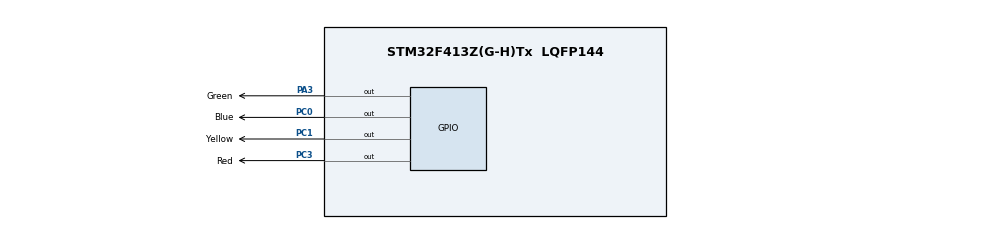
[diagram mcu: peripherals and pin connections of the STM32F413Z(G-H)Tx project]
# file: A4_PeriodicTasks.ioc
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FREERTOS.INCLUDE_vTaskDelayUntil=1
FREERTOS.Tasks01=toggleGreen,0,128,toggleGreenHook,Default,NULL,Dynamic,NULL,NULL;toggleRed,0,128,toggleRedHook,Default,NULL,Dynamic,NULL,NULL
Mcu.Family=STM32F4
Mcu.Name=STM32F413Z(G-H)Tx
Mcu.Package=LQFP144
NVIC.PriorityGroup=NVIC_PRIORITYGROUP_4
NVIC.TIM1_UP_TIM10_IRQn=true\:15\:0\:false\:false\:true\:false\:false\:true\:true
NVIC.TimeBase=TIM1_UP_TIM10_IRQn
NVIC.TimeBaseIP=TIM1
PA3.GPIO_Label=Green
PA3.Signal=GPIO_Output
PC0.GPIO_Label=Blue
PC0.Signal=GPIO_Output
PC1.GPIO_Label=Yellow
PC1.Signal=GPIO_Output
PC3.GPIO_Label=Red
PC3.Signal=GPIO_Output
ProjectManager.HeapSize=0x200
ProjectManager.StackSize=0x400
ProjectManager.TargetToolchain=STM32CubeIDE
RCC.CortexFreq_Value=16000000
RCC.USBFreq_Value=96000000
RCC.VCOOutputFreq_Value=192000000
VP_FREERTOS_VS_CMSIS_V1.Mode=CMSIS_V1
VP_SYS_VS_tim1.Mode=TIM1
board=custom

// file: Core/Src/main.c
/* USER CODE BEGIN Header */
/**
  ******************************************************************************
  * @file           : main.c
  * @brief          : Main program body
  ******************************************************************************
  * @attention
  *
  * Copyright (c) 2024 STMicroelectronics.
  * All rights reserved.
  *
  * This software is licensed under terms that can be found in the LICENSE file
  * in the root directory of this software component.
  * If no LICENSE file comes with this software, it is provided AS-IS.
  *
  ******************************************************************************
  */
/* USER CODE END Header */
#include "main.h"
#include "cmsis_os.h"

osThreadId toggleGreenHandle;
osThreadId toggleRedHandle;
/* USER CODE BEGIN PV */
const TickType_t half_frequency = pdMS_TO_TICKS(25); // el ciclo de 50 ms (20 Hz) se reparte entre apagado y encendido
/* USER CODE END PV */

void SystemClock_Config(void);
static void MX_GPIO_Init(void);
void toggleGreenHook(void const * argument);
void toggleRedHook(void const * argument);

int main(void)
{

  /* MCU Configuration--------------------------------------------------------*/

  /* Reset of all peripherals, Initializes the Flash interface and the Systick. */
  HAL_Init();

  /* Configure the system clock */
  SystemClock_Config();

  /* Initialize all configured peripherals */
  MX_GPIO_Init();

  /* Create the thread(s) */
  /* definition and creation of toggleGreen */
  osThreadDef(toggleGreen, toggleGreenHook, osPriorityNormal, 0, 128);
  toggleGreenHandle = osThreadCreate(osThread(toggleGreen), NULL);

  /* definition and creation of toggleRed */
  osThreadDef(toggleRed, toggleRedHook, osPriorityNormal, 0, 128);
  toggleRedHandle = osThreadCreate(osThread(toggleRed), NULL);

  /* Start scheduler */
  osKernelStart();

  /* We should never get here as control is now taken by the scheduler */

  /* Infinite loop */
  while (1)
  {

  }
}

void SystemClock_Config(void)
{
  RCC_OscInitTypeDef RCC_OscInitStruct = {0};
  RCC_ClkInitTypeDef RCC_ClkInitStruct = {0};

  /** Configure the main internal regulator output voltage
  */
  __HAL_RCC_PWR_CLK_ENABLE();
  __HAL_PWR_VOLTAGESCALING_CONFIG(PWR_REGULATOR_VOLTAGE_SCALE1);

  /** Initializes the RCC Oscillators according to the specified parameters
  * in the RCC_OscInitTypeDef structure.
  */
  RCC_OscInitStruct.OscillatorType = RCC_OSCILLATORTYPE_HSI;
  RCC_OscInitStruct.HSIState = RCC_HSI_ON;
  RCC_OscInitStruct.HSICalibrationValue = RCC_HSICALIBRATION_DEFAULT;
  RCC_OscInitStruct.PLL.PLLState = RCC_PLL_NONE;
  if (HAL_RCC_OscConfig(&RCC_OscInitStruct) != HAL_OK)
  {
    Error_Handler();
  }

  /** Initializes the CPU, AHB and APB buses clocks
  */
  RCC_ClkInitStruct.ClockType = RCC_CLOCKTYPE_HCLK|RCC_CLOCKTYPE_SYSCLK
                              |RCC_CLOCKTYPE_PCLK1|RCC_CLOCKTYPE_PCLK2;
  RCC_ClkInitStruct.SYSCLKSource = RCC_SYSCLKSOURCE_HSI;
  RCC_ClkInitStruct.AHBCLKDivider = RCC_SYSCLK_DIV1;
  RCC_ClkInitStruct.APB1CLKDivider = RCC_HCLK_DIV1;
  RCC_ClkInitStruct.APB2CLKDivider = RCC_HCLK_DIV1;

  if (HAL_RCC_ClockConfig(&RCC_ClkInitStruct, FLASH_LATENCY_0) != HAL_OK)
  {
    Error_Handler();
  }
}

static void MX_GPIO_Init(void)
{
  GPIO_InitTypeDef GPIO_InitStruct = {0};

  /* GPIO Ports Clock Enable */
  __HAL_RCC_GPIOC_CLK_ENABLE();
  __HAL_RCC_GPIOA_CLK_ENABLE();

  /*Configure GPIO pin Output Level */
  HAL_GPIO_WritePin(GPIOC, Blue_Pin|Yellow_Pin|Red_Pin, GPIO_PIN_RESET);

  /*Configure GPIO pin Output Level */
  HAL_GPIO_WritePin(Green_GPIO_Port, Green_Pin, GPIO_PIN_RESET);

  /*Configure GPIO pins : Blue_Pin Yellow_Pin Red_Pin */
  GPIO_InitStruct.Pin = Blue_Pin|Yellow_Pin|Red_Pin;
  GPIO_InitStruct.Mode = GPIO_MODE_OUTPUT_PP;
  GPIO_InitStruct.Pull = GPIO_NOPULL;
  GPIO_InitStruct.Speed = GPIO_SPEED_FREQ_LOW;
  HAL_GPIO_Init(GPIOC, &GPIO_InitStruct);

  /*Configure GPIO pin : Green_Pin */
  GPIO_InitStruct.Pin = Green_Pin;
  GPIO_InitStruct.Mode = GPIO_MODE_OUTPUT_PP;
  GPIO_InitStruct.Pull = GPIO_NOPULL;
  GPIO_InitStruct.Speed = GPIO_SPEED_FREQ_LOW;
  HAL_GPIO_Init(Green_GPIO_Port, &GPIO_InitStruct);

}

void toggleGreenHook(void const * argument)
{
  /* USER CODE BEGIN 5 */
	while (1) {
	const TickType_t delay = pdMS_TO_TICKS(6000);
	HAL_GPIO_WritePin(GPIOC, Blue_Pin, GPIO_PIN_SET);
  /* Infinite loop */
  for(int i = 0; i < 80; i++) // 50 ms (20 Hz) por ciclo, 80 veces equivale a 4s
  {
	  HAL_GPIO_WritePin(Green_GPIO_Port, Green_Pin, GPIO_PIN_SET);
	  vTaskDelay(half_frequency);
	  HAL_GPIO_WritePin(Green_GPIO_Port, Green_Pin, GPIO_PIN_RESET);
	  vTaskDelay(half_frequency);
  }
  HAL_GPIO_WritePin(GPIOC, Blue_Pin, GPIO_PIN_RESET);
  TickType_t ts = xTaskGetTickCount();
  vTaskDelayUntil(&ts, delay);
	}
  /* USER CODE END 5 */
}

void toggleRedHook(void const * argument)
{
  /* USER CODE BEGIN toggleRedHook */
	while (1) {
		const TickType_t delay = pdMS_TO_TICKS(2000);
		HAL_GPIO_WritePin(GPIOC, Yellow_Pin, GPIO_PIN_SET);
	  /* Infinite loop */
	  for(int i = 0; i < 20; i++) // 50 ms (20 Hz) por ciclo, 20 veces equivale a 1s
	  {
		  HAL_GPIO_WritePin(GPIOC, Red_Pin, GPIO_PIN_SET);
		  vTaskDelay(half_frequency);
		  HAL_GPIO_WritePin(GPIOC, Red_Pin, GPIO_PIN_RESET);
		  vTaskDelay(half_frequency);
	  }
	  HAL_GPIO_WritePin(GPIOC, Yellow_Pin, GPIO_PIN_RESET);
	  TickType_t ts = xTaskGetTickCount();
	  vTaskDelayUntil(&ts, delay);
	}
  /* USER CODE END toggleRedHook */
}

void HAL_TIM_PeriodElapsedCallback(TIM_HandleTypeDef *htim)
{
  if (htim->Instance == TIM1) {
    HAL_IncTick();
  }
}

void Error_Handler(void)
{
  __disable_irq();
  while (1)
  {
  }
}
